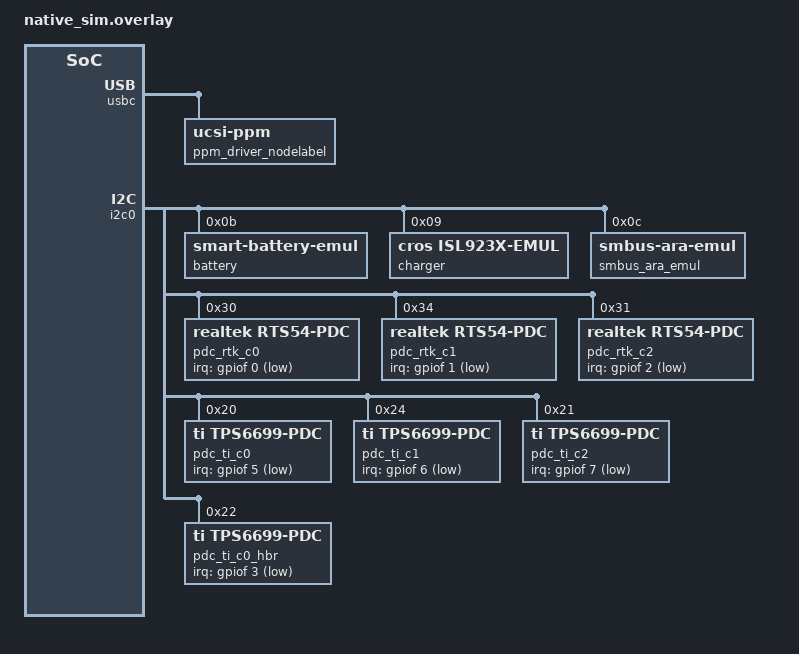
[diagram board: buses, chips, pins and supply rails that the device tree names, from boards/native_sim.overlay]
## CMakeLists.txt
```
# Copyright 2026 The ChromiumOS Authors
# Use of this source code is governed by a BSD-style license that can be
# found in the LICENSE file.

cmake_minimum_required(VERSION 3.13.1)
find_package(Zephyr REQUIRED HINTS "${ZEPHYR_BASE}")
project(atria)

# Include FFF fakes
add_subdirectory(${PLATFORM_EC}/zephyr/test/test_utils test_utils)

target_sources(app PRIVATE
	src/stubs.c
	src/rvp_usbc_runtime_test.c
	${PLATFORM_EC}/zephyr/program/atria/atriarvp-rtk/src/rvp_usbc_runtime.c
)
```

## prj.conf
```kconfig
# Copyright 2026 The ChromiumOS Authors
# Use of this source code is governed by a BSD-style license that can be
# found in the LICENSE file.

CONFIG_ZTEST=y

# Basic EC functions
CONFIG_SHIMMED_TASKS=y
CONFIG_CROS_EC=y
CONFIG_PLATFORM_EC=y
CONFIG_PLATFORM_EC_HOOKS=y
CONFIG_PLATFORM_EC_HOSTCMD=y

# Disable CONFIG_PLATFORM_EC_DEBUG_ASSERT to avoid assert_post_action conflicts
CONFIG_PLATFORM_EC_DEBUG_ASSERT=n

# Console
CONFIG_SHELL_BACKEND_DUMMY=y
CONFIG_SHELL_BACKEND_DUMMY_BUF_SIZE=1000
CONFIG_SHELL_BACKEND_SERIAL=n
CONFIG_SERIAL=y
CONFIG_LOG_BACKEND_UART=n

# Emulated PDC
CONFIG_EMUL=y

# Disable BC1.2
CONFIG_PLATFORM_EC_USB_CHARGER=n

# Charger (required by USB_PDC_POWER_MGMT subsystem)
CONFIG_PLATFORM_EC_CHARGER=y
CONFIG_PLATFORM_EC_CHARGER_SENSE_RESISTOR=10
CONFIG_PLATFORM_EC_CHARGER_SENSE_RESISTOR_AC=10
CONFIG_PLATFORM_EC_CHARGER_ISL9238=y
CONFIG_PLATFORM_EC_BATTERY_FUEL_GAUGE=y
CONFIG_PLATFORM_EC_CHARGER_MIN_POWER_MW_FOR_POWER_ON=30000
CONFIG_PLATFORM_EC_CHARGER_MIN_POWER_MW_FOR_POWER_ON_WITH_BATT=15000

# Turn off other unneeded features
CONFIG_PLATFORM_EC_BACKLIGHT_LID=n
CONFIG_PLATFORM_EC_VBOOT_HASH=n
CONFIG_PLATFORM_EC_SWITCH=n
CONFIG_PLATFORM_EC_USBC_SS_MUX=n

# Disable standard PD
CONFIG_PLATFORM_EC_USB_POWER_DELIVERY=n
CONFIG_PLATFORM_EC_USBC_PPC=n
CONFIG_PLATFORM_EC_USB_PD_PPC=n
CONFIG_PLATFORM_EC_HOSTCMD_PD_CONTROL=n
CONFIG_PLATFORM_EC_HOSTCMD_RWHASHPD=n
CONFIG_PLATFORM_EC_HOSTCMD_TYPEC_DISCOVERY=n
CONFIG_PLATFORM_EC_HOSTCMD_TYPEC_CONTROL=n
CONFIG_PLATFORM_EC_HOSTCMD_TYPEC_STATUS=n
CONFIG_PLATFORM_EC_HOSTCMD_PD_CHIP_INFO=n

# USB-C with PDC
CONFIG_PLATFORM_EC_USBC=y
CONFIG_PLATFORM_EC_USB_PD_CONTROLLER=y
CONFIG_PLATFORM_EC_USB_PD_VBUS_MEASURE_NOT_PRESENT=y
CONFIG_PLATFORM_EC_USB_PD_DISCHARGE=n

# PDC power management subsystem
CONFIG_USB_PDC_POWER_MGMT=y
CONFIG_PDC_POWER_MGMT_SRC_PDO_PEAK_OCP_150=y

# Log to stdout
CONFIG_UART_NATIVE_PTY_0_ON_STDINOUT=y
CONFIG_LOG_BACKEND_SHOW_COLOR=n
```

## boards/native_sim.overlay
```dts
/* Copyright 2026 The ChromiumOS Authors
 * Use of this source code is governed by a BSD-style license that can be
 * found in the LICENSE file.
 *
 * Consolidated native_sim overlay for all rvp_usbc_runtime test configs.
 *
 * Defines all three USB-C ports (C0, C1, C2) with both TI and RTK PDC nodes.
 * Tests use I2C emulator failure injection to simulate different hardware
 * configurations:
 *  - TI configurations: control which TI chips respond via I2C ACK/NACK
 *  - RTK configurations: control which RTK chips respond via I2C ACK/NACK
 */

#include <board-overlays/native_sim.dts>
#include <it8xxx2_emul.dts>
#include <usbc-policy.dtsi>

/ {
	usbc: usbc-ports {
		#address-cells = <1>;
		#size-cells = <0>;

		usbc_p0: port0@0 {
			compatible = "named-usbc-port";
			reg = <0>;
			pdc = <&pdc_rtk_c0 &pdc_ti_c0 &pdc_ti_c0_hbr>;
			chg = <&charger>;
			policy = <&cros_policy>;
			zephyr,deferred-init;
		};

		usbc_p1: port1@1 {
			compatible = "named-usbc-port";
			reg = <1>;
			pdc = <&pdc_rtk_c1 &pdc_ti_c1>;
			policy = <&cros_policy>;
			zephyr,deferred-init;
		};

		usbc_p2: port2@2 {
			compatible = "named-usbc-port";
			reg = <2>;
			pdc = <&pdc_rtk_c2 &pdc_ti_c2>;
			policy = <&cros_policy>;
			zephyr,deferred-init;
		};

		ppm_driver_nodelabel: ppm-driver {
			compatible = "ucsi-ppm";
		};
	};

	named-i2c-ports {
		compatible = "named-i2c-ports";
		i2c_port_pd: i2c_pd {
			i2c-port = <&i2c0>;
			enum-names = "I2C_PORT_USB_C0_TCPC";
		};
		i2c_port_battery: i2c_battery {
			i2c-port = <&i2c0>;
			enum-names = "I2C_PORT_BATTERY";
		};
	};

	batteries {
		default_battery: lgc_ac17a8m {
			compatible = "lgc,ac17a8m", "battery-smart";
		};
	};
};

&i2c0 {
	battery: sb@b {
		compatible = "zephyr,smart-battery-emul";
		reg = <0xb>;
		cycle-count = <6>;
		version = "BATTERY_SPEC_VER_1_1_WITH_PEC";
		desired-charg-volt = <11250>;
		desired-charg-cur = <2400>;
		mf-name = "LGC";
		dev-name = "AP18C8K";
	};

	charger: isl9238@9 {
		compatible = "cros,isl923x-emul";
		status = "okay";
		reg = <0x9>;
		battery = <&battery>;
	};

	/*
	 * RTK PDC nodes — always enabled
	 * i2c failure injection controls state of pdcs
	 */


	/* Required by the rts54-pdc emulator for SMBUS ARA handling */
	smbus_ara_emul: smbus_ara@c {
		compatible = "zephyr,smbus-ara-emul";
		reg = <0xc>;
	};

	pdc_rtk_c0: rts5453p@30 {
		compatible = "realtek,rts54-pdc";
		reg = <0x30>;
		irq-gpios = <&gpiof 0 GPIO_ACTIVE_LOW>;
		zephyr,deferred-init;
	};

	pdc_rtk_c1: rts5453p@34 {
		compatible = "realtek,rts54-pdc";
		reg = <0x34>;
		irq-gpios = <&gpiof 1 GPIO_ACTIVE_LOW>;
		zephyr,deferred-init;
	};

	pdc_rtk_c2: rts5453p@31 {
		compatible = "realtek,rts54-pdc";
		reg = <0x31>;
		irq-gpios = <&gpiof 2 GPIO_ACTIVE_LOW>;
		zephyr,deferred-init;
	};

	/*
	 * TI PDC nodes — always enabled
	 * i2c failure injection controls state of pdcs
	 */

	pdc_ti_c0: tps6699-pdc@20 {
		compatible = "ti,tps6699-pdc";
		reg = <0x20>;
		irq-gpios = <&gpiof 5 (GPIO_PULL_UP | GPIO_ACTIVE_LOW)>;
		port-index-on-chip = <0x1>;
		frs-supported;
		zephyr,deferred-init;
	};

	pdc_ti_c1: tps6699-pdc@24 {
		compatible = "ti,tps6699-pdc";
		reg = <0x24>;
		irq-gpios = <&gpiof 6 (GPIO_PULL_UP | GPIO_ACTIVE_LOW)>;
		port-index-on-chip = <0x2>;
		frs-supported;
		ccd;
		zephyr,deferred-init;
	};

	pdc_ti_c2: tps6699-pdc@21 {
		compatible = "ti,tps6699-pdc";
		reg = <0x21>;
		irq-gpios = <&gpiof 7 (GPIO_PULL_UP | GPIO_ACTIVE_LOW)>;
		port-index-on-chip = <0x1>;
		frs-supported;
		zephyr,deferred-init;
	};

	pdc_ti_c0_hbr: tps6699-pdc@22 {
		compatible = "ti,tps6699-pdc";
		reg = <0x22>;
		irq-gpios = <&gpiof 3 (GPIO_PULL_UP | GPIO_ACTIVE_LOW)>;
		port-index-on-chip = <0x1>;
		frs-supported;
		zephyr,deferred-init;
	};
};
```

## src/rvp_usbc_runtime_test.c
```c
/* Copyright 2026 The ChromiumOS Authors
 * Use of this source code is governed by a BSD-style license that can be
 * found in the LICENSE file.
 *
 * Consolidated test suite for board_get_pdc_for_port() runtime detection.
 *
 * Uses reset_pdc_discovery_for_test() to reset internal state between tests,
 * allowing all hardware configurations to be tested in a single binary.
 */

#include "emul/emul_common_i2c.h"
#include "emul/emul_realtek_rts54xx_public.h"
#include "emul/emul_tps6699x.h"
#include "usbc/pdc_runtime_port_config.h"

#include <errno.h>

#include <zephyr/devicetree.h>
#include <zephyr/drivers/emul.h>
#include <zephyr/ztest.h>

/* Test-only function to reset discovery state between tests */
extern void reset_pdc_discovery_for_test(void);

/* ========================================================================== */
/* TI PDC Configuration Tests                                                 */
/* ========================================================================== */

ZTEST(rvp_usbc_runtime, test_three_port_ti_jbr)
{
	const struct device *dev;

	/* All three TI emulators respond, all RTK and HBR fail */
	i2c_common_emul_set_write_fail_reg(
		emul_tps6699x_get_i2c_common_data(
			EMUL_DT_GET(DT_NODELABEL(pdc_ti_c0))),
		I2C_COMMON_EMUL_NO_FAIL_REG);
	i2c_common_emul_set_write_fail_reg(
		emul_tps6699x_get_i2c_common_data(
			EMUL_DT_GET(DT_NODELABEL(pdc_ti_c1))),
		I2C_COMMON_EMUL_NO_FAIL_REG);
	i2c_common_emul_set_write_fail_reg(
		emul_tps6699x_get_i2c_common_data(
			EMUL_DT_GET(DT_NODELABEL(pdc_ti_c2))),
		I2C_COMMON_EMUL_NO_FAIL_REG);
	i2c_common_emul_set_write_fail_reg(
		emul_tps6699x_get_i2c_common_data(
			EMUL_DT_GET(DT_NODELABEL(pdc_ti_c0_hbr))),
		I2C_COMMON_EMUL_FAIL_ALL_REG);
	i2c_common_emul_set_write_fail_reg(
		rts5453p_emul_get_i2c_common_data(
			EMUL_DT_GET(DT_NODELABEL(pdc_rtk_c0))),
		I2C_COMMON_EMUL_FAIL_ALL_REG);
	i2c_common_emul_set_write_fail_reg(
		rts5453p_emul_get_i2c_common_data(
			EMUL_DT_GET(DT_NODELABEL(pdc_rtk_c1))),
		I2C_COMMON_EMUL_FAIL_ALL_REG);
	i2c_common_emul_set_write_fail_reg(
		rts5453p_emul_get_i2c_common_data(
			EMUL_DT_GET(DT_NODELABEL(pdc_rtk_c2))),
		I2C_COMMON_EMUL_FAIL_ALL_REG);
	reset_pdc_discovery_for_test();

	/* THREE_TI detected, verify all ports */
	zassert_ok(board_get_pdc_for_port(0, &dev));
	zassert_equal(DEVICE_DT_GET(DT_NODELABEL(pdc_ti_c0)), dev);

	zassert_ok(board_get_pdc_for_port(1, &dev));
	zassert_equal(DEVICE_DT_GET(DT_NODELABEL(pdc_ti_c1)), dev);

	zassert_ok(board_get_pdc_for_port(2, &dev));
	zassert_equal(DEVICE_DT_GET(DT_NODELABEL(pdc_ti_c2)), dev);

	/* Port 3 out of range */
	zassert_equal(-ENOENT, board_get_pdc_for_port(3, &dev));
	zassert_is_null(dev);
}

ZTEST(rvp_usbc_runtime, test_dual_port_ti_jbr)
{
	const struct device *dev;

	/* Only C0 and C1 TI respond, C2 and HBR fail */
	i2c_common_emul_set_write_fail_reg(
		emul_tps6699x_get_i2c_common_data(
			EMUL_DT_GET(DT_NODELABEL(pdc_ti_c0))),
		I2C_COMMON_EMUL_NO_FAIL_REG);
	i2c_common_emul_set_write_fail_reg(
		emul_tps6699x_get_i2c_common_data(
			EMUL_DT_GET(DT_NODELABEL(pdc_ti_c1))),
		I2C_COMMON_EMUL_NO_FAIL_REG);
	i2c_common_emul_set_write_fail_reg(
		emul_tps6699x_get_i2c_common_data(
			EMUL_DT_GET(DT_NODELABEL(pdc_ti_c2))),
		I2C_COMMON_EMUL_FAIL_ALL_REG);
	i2c_common_emul_set_write_fail_reg(
		emul_tps6699x_get_i2c_common_data(
			EMUL_DT_GET(DT_NODELABEL(pdc_ti_c0_hbr))),
		I2C_COMMON_EMUL_FAIL_ALL_REG);
	i2c_common_emul_set_write_fail_reg(
		rts5453p_emul_get_i2c_common_data(
			EMUL_DT_GET(DT_NODELABEL(pdc_rtk_c0))),
		I2C_COMMON_EMUL_FAIL_ALL_REG);
	i2c_common_emul_set_write_fail_reg(
		rts5453p_emul_get_i2c_common_data(
			EMUL_DT_GET(DT_NODELABEL(pdc_rtk_c1))),
		I2C_COMMON_EMUL_FAIL_ALL_REG);
	i2c_common_emul_set_write_fail_reg(
		rts5453p_emul_get_i2c_common_data(
			EMUL_DT_GET(DT_NODELABEL(pdc_rtk_c2))),
		I2C_COMMON_EMUL_FAIL_ALL_REG);
	reset_pdc_discovery_for_test();

	/* DUAL_TI detected, verify valid ports */
	zassert_ok(board_get_pdc_for_port(0, &dev));
	zassert_equal(DEVICE_DT_GET(DT_NODELABEL(pdc_ti_c0)), dev);

	zassert_ok(board_get_pdc_for_port(1, &dev));
	zassert_equal(DEVICE_DT_GET(DT_NODELABEL(pdc_ti_c1)), dev);

	/* Port 2 out of range in DUAL_TI */
	zassert_equal(-ENOENT, board_get_pdc_for_port(2, &dev));
	zassert_is_null(dev);
}

ZTEST(rvp_usbc_runtime, test_no_pdcs)
{
	const struct device *dev;

	/* All PDC probes fail */
	i2c_common_emul_set_write_fail_reg(
		emul_tps6699x_get_i2c_common_data(
			EMUL_DT_GET(DT_NODELABEL(pdc_ti_c0))),
		I2C_COMMON_EMUL_FAIL_ALL_REG);
	i2c_common_emul_set_write_fail_reg(
		emul_tps6699x_get_i2c_common_data(
			EMUL_DT_GET(DT_NODELABEL(pdc_ti_c1))),
		I2C_COMMON_EMUL_FAIL_ALL_REG);
	i2c_common_emul_set_write_fail_reg(
		emul_tps6699x_get_i2c_common_data(
			EMUL_DT_GET(DT_NODELABEL(pdc_ti_c2))),
		I2C_COMMON_EMUL_FAIL_ALL_REG);
	i2c_common_emul_set_write_fail_reg(
		emul_tps6699x_get_i2c_common_data(
			EMUL_DT_GET(DT_NODELABEL(pdc_ti_c0_hbr))),
		I2C_COMMON_EMUL_FAIL_ALL_REG);
	i2c_common_emul_set_write_fail_reg(
		rts5453p_emul_get_i2c_common_data(
			EMUL_DT_GET(DT_NODELABEL(pdc_rtk_c0))),
		I2C_COMMON_EMUL_FAIL_ALL_REG);
	i2c_common_emul_set_write_fail_reg(
		rts5453p_emul_get_i2c_common_data(
			EMUL_DT_GET(DT_NODELABEL(pdc_rtk_c1))),
		I2C_COMMON_EMUL_FAIL_ALL_REG);
	i2c_common_emul_set_write_fail_reg(
		rts5453p_emul_get_i2c_common_data(
			EMUL_DT_GET(DT_NODELABEL(pdc_rtk_c2))),
		I2C_COMMON_EMUL_FAIL_ALL_REG);
	reset_pdc_discovery_for_test();

	/* NONE detected, returns OK with dev=NULL */
	zassert_ok(board_get_pdc_for_port(0, &dev));
	zassert_is_null(dev);
}

ZTEST(rvp_usbc_runtime, test_c0_only_ti_jbr)
{
	const struct device *dev;

	/* Only C0 TI responds, all others fail */
	i2c_common_emul_set_write_fail_reg(
		emul_tps6699x_get_i2c_common_data(
			EMUL_DT_GET(DT_NODELABEL(pdc_ti_c0))),
		I2C_COMMON_EMUL_NO_FAIL_REG);
	i2c_common_emul_set_write_fail_reg(
		emul_tps6699x_get_i2c_common_data(
			EMUL_DT_GET(DT_NODELABEL(pdc_ti_c1))),
		I2C_COMMON_EMUL_FAIL_ALL_REG);
	i2c_common_emul_set_write_fail_reg(
		emul_tps6699x_get_i2c_common_data(
			EMUL_DT_GET(DT_NODELABEL(pdc_ti_c2))),
		I2C_COMMON_EMUL_FAIL_ALL_REG);
	i2c_common_emul_set_write_fail_reg(
		emul_tps6699x_get_i2c_common_data(
			EMUL_DT_GET(DT_NODELABEL(pdc_ti_c0_hbr))),
		I2C_COMMON_EMUL_FAIL_ALL_REG);
	i2c_common_emul_set_write_fail_reg(
		rts5453p_emul_get_i2c_common_data(
			EMUL_DT_GET(DT_NODELABEL(pdc_rtk_c0))),
		I2C_COMMON_EMUL_FAIL_ALL_REG);
	i2c_common_emul_set_write_fail_reg(
		rts5453p_emul_get_i2c_common_data(
			EMUL_DT_GET(DT_NODELABEL(pdc_rtk_c1))),
		I2C_COMMON_EMUL_FAIL_ALL_REG);
	i2c_common_emul_set_write_fail_reg(
		rts5453p_emul_get_i2c_common_data(
			EMUL_DT_GET(DT_NODELABEL(pdc_rtk_c2))),
		I2C_COMMON_EMUL_FAIL_ALL_REG);
	reset_pdc_discovery_for_test();

	/* C0_TI detected, verify C0 works and others fail */
	zassert_ok(board_get_pdc_for_port(0, &dev));
	zassert_equal(DEVICE_DT_GET(DT_NODELABEL(pdc_ti_c0)), dev);

	zassert_equal(-ENOENT, board_get_pdc_for_port(1, &dev));
	zassert_is_null(dev);
}

ZTEST(rvp_usbc_runtime, test_unsupported_config)
{
	const struct device *dev;

	/* C0 and C2 TI respond, but not C1 (unsupported config) */
	i2c_common_emul_set_write_fail_reg(
		emul_tps6699x_get_i2c_common_data(
			EMUL_DT_GET(DT_NODELABEL(pdc_ti_c0))),
		I2C_COMMON_EMUL_NO_FAIL_REG);
	i2c_common_emul_set_write_fail_reg(
		emul_tps6699x_get_i2c_common_data(
			EMUL_DT_GET(DT_NODELABEL(pdc_ti_c1))),
		I2C_COMMON_EMUL_FAIL_ALL_REG);
	i2c_common_emul_set_write_fail_reg(
		emul_tps6699x_get_i2c_common_data(
			EMUL_DT_GET(DT_NODELABEL(pdc_ti_c2))),
		I2C_COMMON_EMUL_NO_FAIL_REG);
	i2c_common_emul_set_write_fail_reg(
		emul_tps6699x_get_i2c_common_data(
			EMUL_DT_GET(DT_NODELABEL(pdc_ti_c0_hbr))),
		I2C_COMMON_EMUL_FAIL_ALL_REG);
	i2c_common_emul_set_write_fail_reg(
		rts5453p_emul_get_i2c_common_data(
			EMUL_DT_GET(DT_NODELABEL(pdc_rtk_c0))),
		I2C_COMMON_EMUL_FAIL_ALL_REG);
	i2c_common_emul_set_write_fail_reg(
		rts5453p_emul_get_i2c_common_data(
			EMUL_DT_GET(DT_NODELABEL(pdc_rtk_c1))),
		I2C_COMMON_EMUL_FAIL_ALL_REG);
	i2c_common_emul_set_write_fail_reg(
		rts5453p_emul_get_i2c_common_data(
			EMUL_DT_GET(DT_NODELABEL(pdc_rtk_c2))),
		I2C_COMMON_EMUL_FAIL_ALL_REG);
	reset_pdc_discovery_for_test();

	/* Default case, all ports return -ENOENT */
	zassert_equal(-ENOENT, board_get_pdc_for_port(0, &dev));
	zassert_is_null(dev);
}

/* ========================================================================== */
/* RTK PDC Configuration Tests                                                */
/* ========================================================================== */

ZTEST(rvp_usbc_runtime, test_c0_only_rtk)
{
	const struct device *dev;

	/* Only C0 RTK responds, all others fail */
	i2c_common_emul_set_write_fail_reg(
		emul_tps6699x_get_i2c_common_data(
			EMUL_DT_GET(DT_NODELABEL(pdc_ti_c0))),
		I2C_COMMON_EMUL_FAIL_ALL_REG);
	i2c_common_emul_set_write_fail_reg(
		emul_tps6699x_get_i2c_common_data(
			EMUL_DT_GET(DT_NODELABEL(pdc_ti_c1))),
		I2C_COMMON_EMUL_FAIL_ALL_REG);
	i2c_common_emul_set_write_fail_reg(
		emul_tps6699x_get_i2c_common_data(
			EMUL_DT_GET(DT_NODELABEL(pdc_ti_c2))),
		I2C_COMMON_EMUL_FAIL_ALL_REG);
	i2c_common_emul_set_write_fail_reg(
		emul_tps6699x_get_i2c_common_data(
			EMUL_DT_GET(DT_NODELABEL(pdc_ti_c0_hbr))),
		I2C_COMMON_EMUL_FAIL_ALL_REG);
	i2c_common_emul_set_write_fail_reg(
		rts5453p_emul_get_i2c_common_data(
			EMUL_DT_GET(DT_NODELABEL(pdc_rtk_c0))),
		I2C_COMMON_EMUL_NO_FAIL_REG);
	i2c_common_emul_set_write_fail_reg(
		rts5453p_emul_get_i2c_common_data(
			EMUL_DT_GET(DT_NODELABEL(pdc_rtk_c1))),
		I2C_COMMON_EMUL_FAIL_ALL_REG);
	i2c_common_emul_set_write_fail_reg(
		rts5453p_emul_get_i2c_common_data(
			EMUL_DT_GET(DT_NODELABEL(pdc_rtk_c2))),
		I2C_COMMON_EMUL_FAIL_ALL_REG);
	reset_pdc_discovery_for_test();

	/* C0_RTK detected, verify C0 works and others fail */
	zassert_ok(board_get_pdc_for_port(0, &dev));
	zassert_equal(DEVICE_DT_GET(DT_NODELABEL(pdc_rtk_c0)), dev);

	zassert_equal(-ENOENT, board_get_pdc_for_port(1, &dev));
	zassert_is_null(dev);
}

ZTEST(rvp_usbc_runtime, test_dual_rtk)
{
	const struct device *dev;

	/* C0 and C1 RTK respond, all TI and HBR fail */
	i2c_common_emul_set_write_fail_reg(
		emul_tps6699x_get_i2c_common_data(
			EMUL_DT_GET(DT_NODELABEL(pdc_ti_c0))),
		I2C_COMMON_EMUL_FAIL_ALL_REG);
	i2c_common_emul_set_write_fail_reg(
		emul_tps6699x_get_i2c_common_data(
			EMUL_DT_GET(DT_NODELABEL(pdc_ti_c1))),
		I2C_COMMON_EMUL_FAIL_ALL_REG);
	i2c_common_emul_set_write_fail_reg(
		emul_tps6699x_get_i2c_common_data(
			EMUL_DT_GET(DT_NODELABEL(pdc_ti_c2))),
		I2C_COMMON_EMUL_FAIL_ALL_REG);
	i2c_common_emul_set_write_fail_reg(
		emul_tps6699x_get_i2c_common_data(
			EMUL_DT_GET(DT_NODELABEL(pdc_ti_c0_hbr))),
		I2C_COMMON_EMUL_FAIL_ALL_REG);
	i2c_common_emul_set_write_fail_reg(
		rts5453p_emul_get_i2c_common_data(
			EMUL_DT_GET(DT_NODELABEL(pdc_rtk_c0))),
		I2C_COMMON_EMUL_NO_FAIL_REG);
	i2c_common_emul_set_write_fail_reg(
		rts5453p_emul_get_i2c_common_data(
			EMUL_DT_GET(DT_NODELABEL(pdc_rtk_c1))),
		I2C_COMMON_EMUL_NO_FAIL_REG);
	i2c_common_emul_set_write_fail_reg(
		rts5453p_emul_get_i2c_common_data(
			EMUL_DT_GET(DT_NODELABEL(pdc_rtk_c2))),
		I2C_COMMON_EMUL_FAIL_ALL_REG);
	reset_pdc_discovery_for_test();

	/* DUAL_RTK detected, verify both ports */
	zassert_ok(board_get_pdc_for_port(0, &dev));
	zassert_equal(DEVICE_DT_GET(DT_NODELABEL(pdc_rtk_c0)), dev);

	zassert_ok(board_get_pdc_for_port(1, &dev));
	zassert_equal(DEVICE_DT_GET(DT_NODELABEL(pdc_rtk_c1)), dev);

	/* Port 2 out of range */
	zassert_equal(-ENOENT, board_get_pdc_for_port(2, &dev));
	zassert_is_null(dev);
}

ZTEST(rvp_usbc_runtime, test_three_rtk)
{
	const struct device *dev;

	/* All three RTK emulators respond, all TI and HBR fail */
	i2c_common_emul_set_write_fail_reg(
		emul_tps6699x_get_i2c_common_data(
			EMUL_DT_GET(DT_NODELABEL(pdc_ti_c0))),
		I2C_COMMON_EMUL_FAIL_ALL_REG);
	i2c_common_emul_set_write_fail_reg(
		emul_tps6699x_get_i2c_common_data(
			EMUL_DT_GET(DT_NODELABEL(pdc_ti_c1))),
		I2C_COMMON_EMUL_FAIL_ALL_REG);
	i2c_common_emul_set_write_fail_reg(
		emul_tps6699x_get_i2c_common_data(
			EMUL_DT_GET(DT_NODELABEL(pdc_ti_c2))),
		I2C_COMMON_EMUL_FAIL_ALL_REG);
	i2c_common_emul_set_write_fail_reg(
		emul_tps6699x_get_i2c_common_data(
			EMUL_DT_GET(DT_NODELABEL(pdc_ti_c0_hbr))),
		I2C_COMMON_EMUL_FAIL_ALL_REG);
	i2c_common_emul_set_write_fail_reg(
		rts5453p_emul_get_i2c_common_data(
			EMUL_DT_GET(DT_NODELABEL(pdc_rtk_c0))),
		I2C_COMMON_EMUL_NO_FAIL_REG);
	i2c_common_emul_set_write_fail_reg(
		rts5453p_emul_get_i2c_common_data(
			EMUL_DT_GET(DT_NODELABEL(pdc_rtk_c1))),
		I2C_COMMON_EMUL_NO_FAIL_REG);
	i2c_common_emul_set_write_fail_reg(
		rts5453p_emul_get_i2c_common_data(
			EMUL_DT_GET(DT_NODELABEL(pdc_rtk_c2))),
		I2C_COMMON_EMUL_NO_FAIL_REG);
	reset_pdc_discovery_for_test();

	/* THREE_RTK detected, verify all ports */
	zassert_ok(board_get_pdc_for_port(0, &dev));
	zassert_equal(DEVICE_DT_GET(DT_NODELABEL(pdc_rtk_c0)), dev);

	zassert_ok(board_get_pdc_for_port(1, &dev));
	zassert_equal(DEVICE_DT_GET(DT_NODELABEL(pdc_rtk_c1)), dev);

	zassert_ok(board_get_pdc_for_port(2, &dev));
	zassert_equal(DEVICE_DT_GET(DT_NODELABEL(pdc_rtk_c2)), dev);

	/* Port 3 out of range */
	zassert_equal(-ENOENT, board_get_pdc_for_port(3, &dev));
	zassert_is_null(dev);
}

/* ========================================================================== */
/* HBR TI PDC Configuration Tests                                             */
/* ========================================================================== */

ZTEST(rvp_usbc_runtime, test_c0_only_ti_hbr)
{
	const struct device *dev;

	/* Only HBR C0 responds (0x22), all others fail */
	i2c_common_emul_set_write_fail_reg(
		emul_tps6699x_get_i2c_common_data(
			EMUL_DT_GET(DT_NODELABEL(pdc_ti_c0_hbr))),
		I2C_COMMON_EMUL_NO_FAIL_REG);
	i2c_common_emul_set_write_fail_reg(
		emul_tps6699x_get_i2c_common_data(
			EMUL_DT_GET(DT_NODELABEL(pdc_ti_c0))),
		I2C_COMMON_EMUL_FAIL_ALL_REG);
	i2c_common_emul_set_write_fail_reg(
		emul_tps6699x_get_i2c_common_data(
			EMUL_DT_GET(DT_NODELABEL(pdc_ti_c1))),
		I2C_COMMON_EMUL_FAIL_ALL_REG);
	i2c_common_emul_set_write_fail_reg(
		emul_tps6699x_get_i2c_common_data(
			EMUL_DT_GET(DT_NODELABEL(pdc_ti_c2))),
		I2C_COMMON_EMUL_FAIL_ALL_REG);
	i2c_common_emul_set_write_fail_reg(
		rts5453p_emul_get_i2c_common_data(
			EMUL_DT_GET(DT_NODELABEL(pdc_rtk_c0))),
		I2C_COMMON_EMUL_FAIL_ALL_REG);
	i2c_common_emul_set_write_fail_reg(
		rts5453p_emul_get_i2c_common_data(
			EMUL_DT_GET(DT_NODELABEL(pdc_rtk_c1))),
		I2C_COMMON_EMUL_FAIL_ALL_REG);
	i2c_common_emul_set_write_fail_reg(
		rts5453p_emul_get_i2c_common_data(
			EMUL_DT_GET(DT_NODELABEL(pdc_rtk_c2))),
		I2C_COMMON_EMUL_FAIL_ALL_REG);
	reset_pdc_discovery_for_test();

	/* C0_TI_HBR detected */
	zassert_ok(board_get_pdc_for_port(0, &dev));
	zassert_equal(DEVICE_DT_GET(DT_NODELABEL(pdc_ti_c0_hbr)), dev);

	zassert_equal(-ENOENT, board_get_pdc_for_port(1, &dev));
	zassert_is_null(dev);
}

ZTEST(rvp_usbc_runtime, test_dual_port_ti_hbr)
{
	const struct device *dev;

	/* HBR C0 (0x22) and C1 (0x20) respond, all others fail */
	i2c_common_emul_set_write_fail_reg(
		emul_tps6699x_get_i2c_common_data(
			EMUL_DT_GET(DT_NODELABEL(pdc_ti_c0_hbr))),
		I2C_COMMON_EMUL_NO_FAIL_REG);
	i2c_common_emul_set_write_fail_reg(
		emul_tps6699x_get_i2c_common_data(
			EMUL_DT_GET(DT_NODELABEL(pdc_ti_c0))),
		I2C_COMMON_EMUL_NO_FAIL_REG);
	i2c_common_emul_set_write_fail_reg(
		emul_tps6699x_get_i2c_common_data(
			EMUL_DT_GET(DT_NODELABEL(pdc_ti_c1))),
		I2C_COMMON_EMUL_FAIL_ALL_REG);
	i2c_common_emul_set_write_fail_reg(
		emul_tps6699x_get_i2c_common_data(
			EMUL_DT_GET(DT_NODELABEL(pdc_ti_c2))),
		I2C_COMMON_EMUL_FAIL_ALL_REG);
	i2c_common_emul_set_write_fail_reg(
		rts5453p_emul_get_i2c_common_data(
			EMUL_DT_GET(DT_NODELABEL(pdc_rtk_c0))),
		I2C_COMMON_EMUL_FAIL_ALL_REG);
	i2c_common_emul_set_write_fail_reg(
		rts5453p_emul_get_i2c_common_data(
			EMUL_DT_GET(DT_NODELABEL(pdc_rtk_c1))),
		I2C_COMMON_EMUL_FAIL_ALL_REG);
	i2c_common_emul_set_write_fail_reg(
		rts5453p_emul_get_i2c_common_data(
			EMUL_DT_GET(DT_NODELABEL(pdc_rtk_c2))),
		I2C_COMMON_EMUL_FAIL_ALL_REG);
	reset_pdc_discovery_for_test();

	/* DUAL_TI_HBR detected: port0=0x22, port1=0x20 */
	zassert_ok(board_get_pdc_for_port(0, &dev));
	zassert_equal(DEVICE_DT_GET(DT_NODELABEL(pdc_ti_c0_hbr)), dev);

	zassert_ok(board_get_pdc_for_port(1, &dev));
	zassert_equal(DEVICE_DT_GET(DT_NODELABEL(pdc_ti_c0)), dev);

	/* Port 2 out of range in DUAL_TI_HBR */
	zassert_equal(-ENOENT, board_get_pdc_for_port(2, &dev));
	zassert_is_null(dev);
}

ZTEST(rvp_usbc_runtime, test_three_port_ti_hbr)
{
	const struct device *dev;

	/* HBR C0 (0x22), C1 (0x20), C2 (0x21) all respond */
	i2c_common_emul_set_write_fail_reg(
		emul_tps6699x_get_i2c_common_data(
			EMUL_DT_GET(DT_NODELABEL(pdc_ti_c0_hbr))),
		I2C_COMMON_EMUL_NO_FAIL_REG);
	i2c_common_emul_set_write_fail_reg(
		emul_tps6699x_get_i2c_common_data(
			EMUL_DT_GET(DT_NODELABEL(pdc_ti_c0))),
		I2C_COMMON_EMUL_NO_FAIL_REG);
	i2c_common_emul_set_write_fail_reg(
		emul_tps6699x_get_i2c_common_data(
			EMUL_DT_GET(DT_NODELABEL(pdc_ti_c1))),
		I2C_COMMON_EMUL_FAIL_ALL_REG);
	i2c_common_emul_set_write_fail_reg(
		emul_tps6699x_get_i2c_common_data(
			EMUL_DT_GET(DT_NODELABEL(pdc_ti_c2))),
		I2C_COMMON_EMUL_NO_FAIL_REG);
	i2c_common_emul_set_write_fail_reg(
		rts5453p_emul_get_i2c_common_data(
			EMUL_DT_GET(DT_NODELABEL(pdc_rtk_c0))),
		I2C_COMMON_EMUL_FAIL_ALL_REG);
	i2c_common_emul_set_write_fail_reg(
		rts5453p_emul_get_i2c_common_data(
			EMUL_DT_GET(DT_NODELABEL(pdc_rtk_c1))),
		I2C_COMMON_EMUL_FAIL_ALL_REG);
	i2c_common_emul_set_write_fail_reg(
		rts5453p_emul_get_i2c_common_data(
			EMUL_DT_GET(DT_NODELABEL(pdc_rtk_c2))),
		I2C_COMMON_EMUL_FAIL_ALL_REG);
	reset_pdc_discovery_for_test();

	/* THREE_TI_HBR detected: port0=0x22, port1=0x20, port2=0x21 */
	zassert_ok(board_get_pdc_for_port(0, &dev));
	zassert_equal(DEVICE_DT_GET(DT_NODELABEL(pdc_ti_c0_hbr)), dev);

	zassert_ok(board_get_pdc_for_port(1, &dev));
	zassert_equal(DEVICE_DT_GET(DT_NODELABEL(pdc_ti_c0)), dev);

	zassert_ok(board_get_pdc_for_port(2, &dev));
	zassert_equal(DEVICE_DT_GET(DT_NODELABEL(pdc_ti_c2)), dev);

	/* Port 3 out of range */
	zassert_equal(-ENOENT, board_get_pdc_for_port(3, &dev));
	zassert_is_null(dev);
}

ZTEST_SUITE(rvp_usbc_runtime, NULL, NULL, NULL, NULL, NULL);
```

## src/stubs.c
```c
/* Copyright 2026 The ChromiumOS Authors
 * Use of this source code is governed by a BSD-style license that can be
 * found in the LICENSE file.
 */

int battery_is_present(void)
{
	return 1;
}

int extpower_is_present(void)
{
	return 1;
}
```
